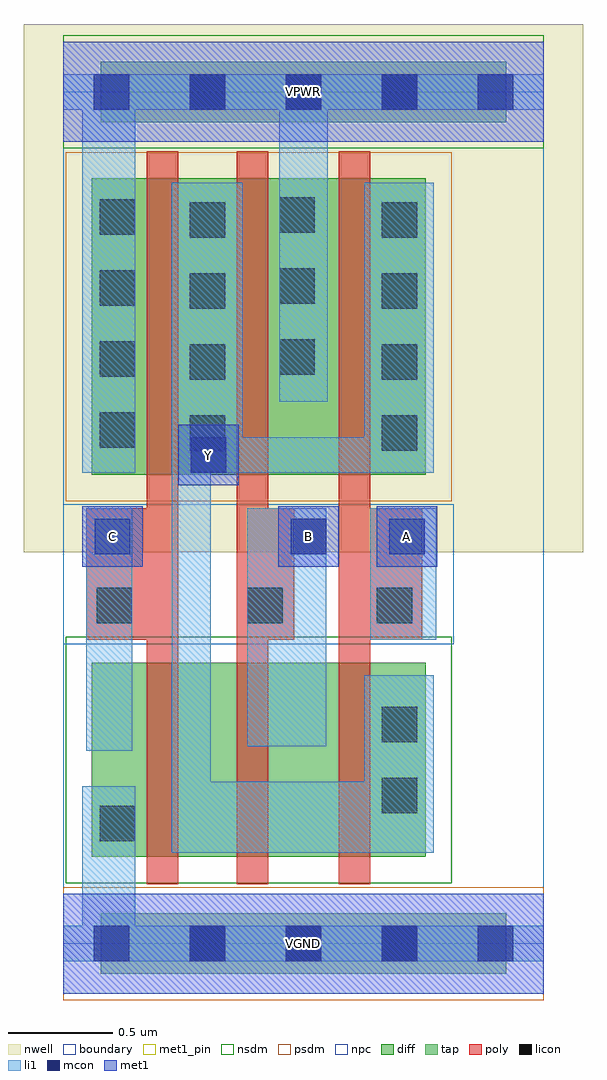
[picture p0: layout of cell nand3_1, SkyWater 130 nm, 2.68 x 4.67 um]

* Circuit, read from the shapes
.subckt nand3_1 A B C VGND VPWR Y
XM1 n1 C VGND VGND sky130_fd_pr__nfet_01v8 w=0.93 l=0.15
XM2 n2 B n1 VGND sky130_fd_pr__nfet_01v8 w=0.93 l=0.15
XM3 Y A n2 VGND sky130_fd_pr__nfet_01v8 w=0.93 l=0.15
XM4 Y C VPWR VPWR sky130_fd_pr__pfet_01v8 w=1.42 l=0.15
XM5 VPWR B Y VPWR sky130_fd_pr__pfet_01v8 w=1.42 l=0.15
XM6 Y A VPWR VPWR sky130_fd_pr__pfet_01v8 w=1.42 l=0.15
.ends

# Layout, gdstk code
import gdstk
lib = gdstk.Library(unit=1e-6, precision=1e-09)
def R(c, l, rs):  # rectangles x0, y0, x1, y1
    for r in rs: c.add(gdstk.rectangle(r[:2], r[2:], *l))
def A(c, l, x, y, w, h, nx, ny, dx, dy):  # array of equal rectangles
    R(c, l, [(x+i*dx, y+j*dy, x+i*dx+w, y+j*dy+h) for i in range(nx) for j in range(ny)])
nwell = (64, 20)
diff = (65, 20)
tap = (65, 44)
poly = (66, 20)
licon = (66, 44)
li1 = (67, 20)
mcon = (67, 44)
met1_pin = (68, 16)
met1 = (68, 20)
nsdm = (93, 44)
psdm = (94, 20)
npc = (95, 20)
boundary = (235, 4)

nand3_1 = lib.new_cell('nand3_1')
R(nand3_1, nwell, [(-0.19,1.875,2.49,4.405), (0,1.875,2.3,4.405)])
R(nand3_1, diff, [(0.135,0.415,1.735,1.345), (0.135,2.245,1.735,3.665)])
R(nand3_1, tap, [(0.18,-0.145,2.12,0.145), (0.18,3.935,2.12,4.225)])
R(nand3_1, poly, [(0.4,0.285,0.55,3.795), (0.83,0.285,0.98,3.795), (1.32,0.285,1.47,3.795), (0.11,1.455,0.55,2.085), (0.83,1.455,1.105,2.085), (1.32,1.455,1.72,2.085)])
A(nand3_1, licon, 0.605, -0.085, 0.17, 0.17, 3, 2, 0.46, 4.08)
A(nand3_1, licon, 0.605, 2.36, 0.17, 0.17, 1, 4, 0, 0.34)
A(nand3_1, licon, 1.525, 2.36, 0.17, 0.17, 1, 4, 0, 0.34)
A(nand3_1, licon, 0.175, 2.375, 0.17, 0.17, 1, 4, 0, 0.34)
A(nand3_1, licon, 1.035, 2.725, 0.17, 0.17, 1, 3, 0, 0.34)
R(nand3_1, licon, [(0.175,0.49,0.345,0.66), (1.525,0.625,1.695,0.795), (1.525,0.965,1.695,1.135), (0.16,1.535,0.33,1.705), (0.88,1.535,1.05,1.705), (1.5,1.535,1.67,1.705)])
R(nand3_1, li1, [(0,-0.085,2.3,0.085), (0.09,-0.085,0.345,0.755), (0.52,0.435,1.775,0.775), (0.52,0.435,0.705,3.645), (1.44,0.435,1.775,1.285), (0.11,0.925,0.33,2.085), (0.88,0.945,1.26,2.085), (1.47,1.455,1.785,2.085), (0.09,2.255,0.345,4.165), (0.52,2.255,0.86,3.645), (0.52,2.255,1.775,2.425), (1.44,2.255,1.775,3.645), (1.035,2.595,1.265,4.165), (0,3.995,2.3,4.165)])
A(nand3_1, mcon, 0.145, -0.085, 0.17, 0.17, 5, 2, 0.46, 4.08)
R(nand3_1, mcon, [(0.15,1.865,0.32,2.035), (1.09,1.865,1.26,2.035), (1.56,1.865,1.73,2.035), (0.61,2.255,0.78,2.425)])
R(nand3_1, met1_pin, [(0,-0.24,2.3,0.24), (0.09,1.805,0.38,2.095), (1.03,1.805,1.32,2.095), (1.5,1.805,1.79,2.095), (0.55,2.195,0.84,2.485), (0,3.84,2.3,4.32)])
R(nand3_1, met1, [(0,-0.24,2.3,0.24), (0.09,1.805,0.38,2.095), (1.03,1.805,1.32,2.095), (1.5,1.805,1.79,2.095), (0.55,2.195,0.84,2.485), (0,3.84,2.3,4.32)])
R(nand3_1, nsdm, [(0.01,0.29,1.86,1.47), (0,3.81,2.3,4.35)])
R(nand3_1, psdm, [(0,-0.27,2.3,0.27), (0.01,2.12,1.86,3.79)])
R(nand3_1, npc, [(0,1.435,1.87,2.105)])
R(nand3_1, boundary, [(0,0,2.3,4.08)])
nand3_1.add(gdstk.Label('A', (1.645,1.95), layer=68, texttype=5))
nand3_1.add(gdstk.Label('B', (1.175,1.95), layer=68, texttype=5))
nand3_1.add(gdstk.Label('C', (0.235,1.95), layer=68, texttype=5))
nand3_1.add(gdstk.Label('Y', (0.695,2.34), layer=68, texttype=5))
nand3_1.add(gdstk.Label('VPWR', (1.15,4.08), layer=68, texttype=5))
nand3_1.add(gdstk.Label('VGND', (1.15,0), layer=68, texttype=5))
nand3_1.add(gdstk.Label('A', (1.645,1.95), layer=68, texttype=16))
nand3_1.add(gdstk.Label('B', (1.175,1.95), layer=68, texttype=16))
nand3_1.add(gdstk.Label('C', (0.235,1.95), layer=68, texttype=16))
nand3_1.add(gdstk.Label('Y', (0.695,2.34), layer=68, texttype=16))
nand3_1.add(gdstk.Label('VPWR', (1.15,4.08), layer=68, texttype=16))
nand3_1.add(gdstk.Label('VGND', (1.15,0), layer=68, texttype=16))

lib.write_gds('nand3_1.gds')
